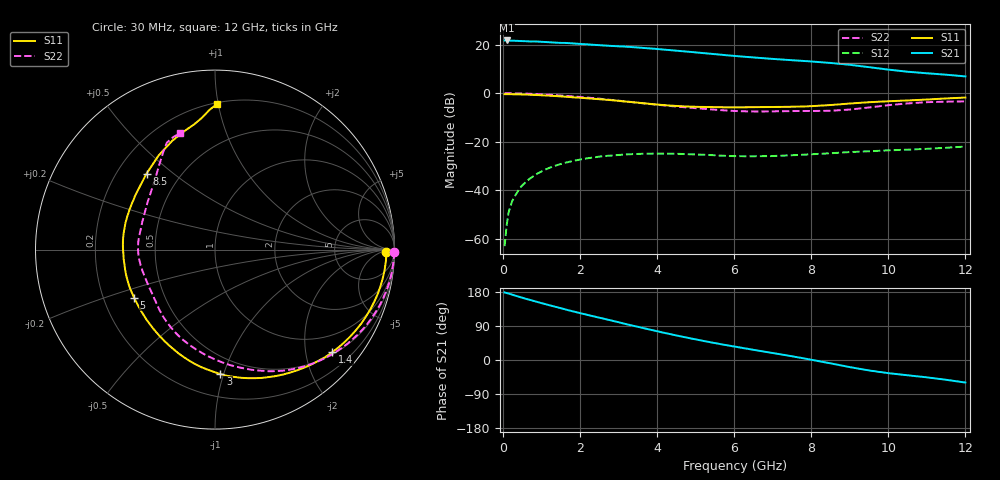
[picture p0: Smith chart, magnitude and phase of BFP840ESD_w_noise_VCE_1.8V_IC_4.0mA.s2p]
! Infineon Technologies  Discrete & RF Semiconductors
! BFP840ESD
! VCE =  1.8 V,  IC =  4.0 mA
! Common Emitter S-Parameters:  May 2012
# GHz  S  MA  R  50
!  f  S11  S21  S12  S22
! GHz  MAG  ANG  MAG  ANG  MAG  ANG  MAG  ANG
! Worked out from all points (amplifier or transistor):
!   93 points, 30 MHz to 12 GHz, reference 50 ohm
!   highest |S21| = 21.7 dB at 80 MHz (marker M1)
!   |S21| within 3 dB of that: start of sweep to 3.57 GHz
!   unconditionally stable (mu >= 1): 6.284 GHz to 10.35 GHz
!   at 1.1 GHz: K = 0.16, MSG = 26.3 dB, |S12| = -31.4 dB
!   at 4.2 GHz: K = 0.54, MSG = 21.4 dB, |S12| = -24.9 dB
!   at 12 GHz: K = 0.67, MSG = 14.5 dB, |S12| = -22.0 dB
!   lowest NFmin = 0.52 dB at 450 MHz
!   S11 on the Smith chart (normalised r, x): 30 MHz: 39, -13; 1.4 GHz: 0.55, -2.56; 3 GHz: 0.36, -0.98; 5 GHz: 0.33, -0.25; 8.5 GHz: 0.32, +0.41; 12 GHz: 0.21, +0.99
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0.03  0.9549 -0.9  12.22 178.2  0.0007 107.2  0.9967 -0.7
0.08  0.9546 -2.4  12.23 176.8  0.0018 99.7  0.998 -2.0
0.13  0.9543 -3.9  12.21 175.5  0.0034 82.4  0.9974 -3.3
0.28  0.9497 -8.4  12.06 170.7  0.0072 81.9  0.9933 -7.3
0.8  0.9204 -23.8  11.68 155.4  0.02 71.0  0.9626 -20.6
1.1  0.8961 -32.6  11.35 147.1  0.0268 64.2  0.9366 -28.1
1.4  0.8682 -41.2  10.97 139.1  0.033 57.4  0.9051 -35.5
1.7  0.835 -50.1  10.75 131.0  0.0382 51.5  0.8699 -42.8
2.1  0.7927 -61.4  10.24 121.1  0.0444 43.8  0.8211 -52.2
2.5  0.75 -72.8  9.759 111.4  0.0493 36.7  0.7694 -61.4
3  0.6941 -87.5  9.236 99.5  0.0532 28.7  0.7002 -73.0
3.5  0.636 -102.9  8.749 87.4  0.0559 21.3  0.635 -85.3
4.1  0.5738 -121.8  8.009 73.4  0.0567 13.2  0.5672 -100.5
4.5  0.5456 -134.5  7.515 64.6  0.0562 9.0  0.5305 -110.4
5  0.5243 -149.4  6.927 54.3  0.0545 4.8  0.4904 -121.8
5.5  0.5156 -162.9  6.372 44.5  0.0524 2.3  0.4569 -132.7
6.1  0.5109 -176.7  5.782 33.8  0.0502 2.2  0.4267 -145.6
7.5  0.5259 155.1  4.788 9.7  0.0526 4.7  0.4278 -176.7
8.5  0.5699 132.0  4.201 -8.9  0.0577 4.0  0.4338 159.0
9.5  0.6516 111.4  3.438 -27.6  0.0634 0.4  0.5074 131.8
10.5  0.7083 99.3  2.771 -40.3  0.0684 -3.2  0.6149 118.0
12  0.8124 89.1  2.218 -59.5  0.0794 -8.4  0.677 106.7
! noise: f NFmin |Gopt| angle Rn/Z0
0.45  0.52  0.53  2  0.24
0.9  0.54  0.52  6  0.23
1.5  0.57  0.52  16  0.19
1.9  0.61  0.5  18  0.18
2.4  0.64  0.46  32  0.16
3.5  0.7  0.36  58  0.13
5.5  0.85  0.26  115  0.1
8  1.05  0.38  -147  0.06
10  1.25  0.52  -105  0.16
12  1.49  0.58  -82  0.27
